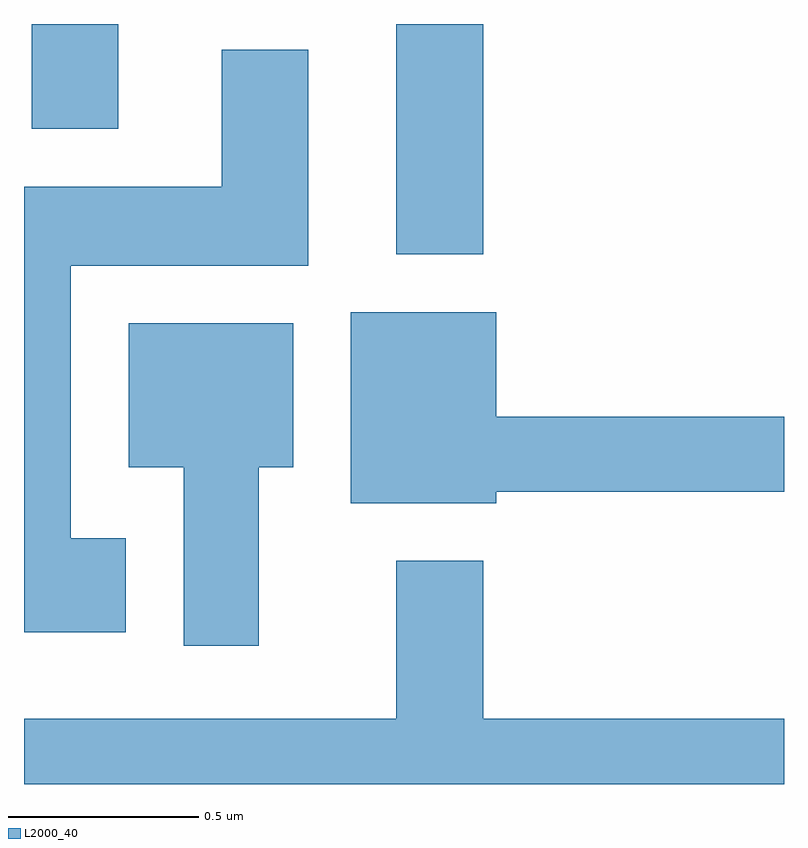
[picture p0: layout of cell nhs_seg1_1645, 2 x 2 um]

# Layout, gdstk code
import gdstk
lib = gdstk.Library(unit=1e-6, precision=1e-09)
def R(c, l, rs):  # rectangles x0, y0, x1, y1
    for r in rs: c.add(gdstk.rectangle(r[:2], r[2:], *l))
def P(c, l, *ps):  # polygons
    for p in ps: c.add(gdstk.Polygon(p, *l))
L2000_40 = (2000, 40)

nhs_seg1_1645 = lib.new_cell('nhs_seg1_1645')
R(nhs_seg1_1645, L2000_40, [(198.591,861.106,198.819,861.712), (197.631,861.436,197.859,861.712)])
P(nhs_seg1_1645, L2000_40, [(197.879,860.359),(197.734,860.359),(197.734,861.076),(198.359,861.076),(198.359,861.644),(198.131,861.644),(198.131,861.284),(197.611,861.284),(197.611,860.111),(197.879,860.111)],
  [(198.854,860.481),(199.611,860.481),(199.611,860.679),(198.854,860.679),(198.854,860.954),(198.471,860.954),(198.471,860.451),(198.854,860.451)],
  [(198.229,860.546),(198.319,860.546),(198.319,860.924),(197.886,860.924),(197.886,860.546),(198.031,860.546),(198.031,860.076),(198.229,860.076)],
  [(199.611,859.884),(198.819,859.884),(198.819,860.299),(198.591,860.299),(198.591,859.884),(197.611,859.884),(197.611,859.712),(199.611,859.712)])

lib.write_gds('nhs_seg1_1645.gds')
